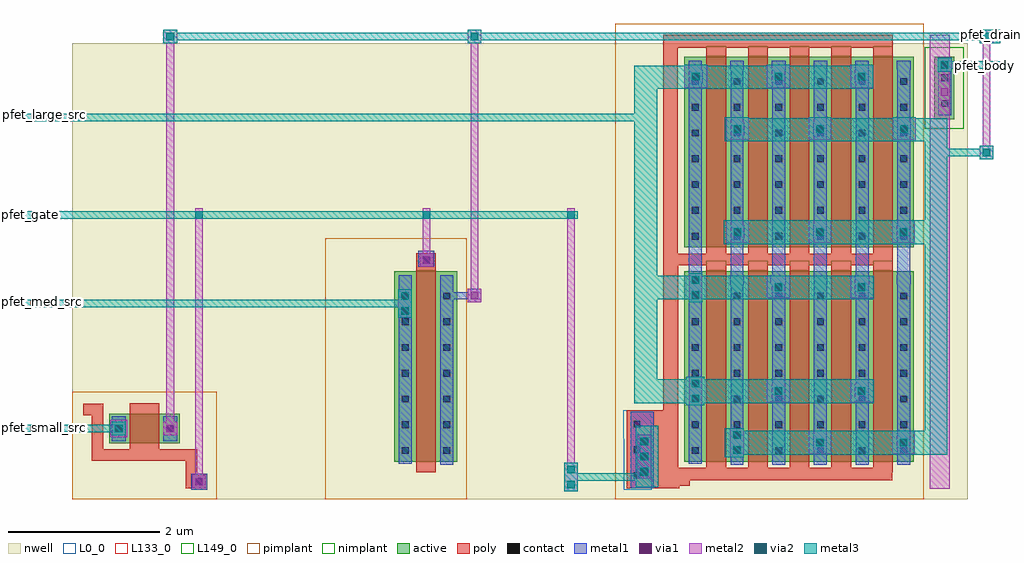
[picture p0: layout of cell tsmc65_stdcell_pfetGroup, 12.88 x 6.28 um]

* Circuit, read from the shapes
.subckt tsmc65_stdcell_pfetGroup pfet_body pfet_drain pfet_gate pfet_large_src pfet_med_src pfet_small_src
M1 pfet_drain pfet_gate pfet_small_src pfet_body pfet w=0.39u l=0.39u
M2 pfet_drain pfet_gate pfet_med_src pfet_body pfet w=2.51u l=0.26u
M3 pfet_drain pfet_gate pfet_large_src pfet_body pfet w=2.51u l=0.26u m=10
.ends

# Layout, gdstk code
import gdstk
lib = gdstk.Library(unit=1e-6, precision=1e-09)
def R(c, l, rs):  # rectangles x0, y0, x1, y1
    for r in rs: c.add(gdstk.rectangle(r[:2], r[2:], *l))
def A(c, l, x, y, w, h, nx, ny, dx, dy):  # array of equal rectangles
    R(c, l, [(x+i*dx, y+j*dy, x+i*dx+w, y+j*dy+h) for i in range(nx) for j in range(ny)])
L0_0 = (0, 0)
nwell = (3, 0)
active = (6, 0)
poly = (17, 0)
pimplant = (25, 0)
nimplant = (26, 0)
contact = (30, 0)
metal1 = (31, 0)
metal2 = (32, 0)
metal3 = (33, 0)
via1 = (51, 0)
via2 = (52, 0)
L133_0 = (133, 0)
L149_0 = (149, 0)

m1_po_cdns_675966892443 = lib.new_cell('M1_PO_CDNS_675966892443')
R(m1_po_cdns_675966892443, poly, [(-0.085,-0.085,0.085,0.085)])
R(m1_po_cdns_675966892443, contact, [(-0.045,-0.045,0.045,0.045)])
R(m1_po_cdns_675966892443, metal1, [(-0.085,-0.085,0.085,0.085)])

sky130_hilas_pfetdevice0 = lib.new_cell('sky130_hilas_pFETdevice01')
R(sky130_hilas_pfetdevice0, nwell, [(-0.94,-0.93,0.97,0.49)])
R(sky130_hilas_pfetdevice0, active, [(-0.45,-0.19,0.48,0.2)])
R(sky130_hilas_pfetdevice0, poly, [(0.56,-0.78,0.82,-0.63), (0.56,-0.63,0.71,-0.42), (-0.68,-0.42,0.71,-0.27), (-0.68,-0.27,-0.53,0.18), (-0.18,-0.27,0.21,0.34), (-0.79,0.18,-0.53,0.33)])
R(sky130_hilas_pfetdevice0, pimplant, [(-0.94,-0.93,0.97,0.49)])
R(sky130_hilas_pfetdevice0, contact, [(-0.37,-0.04,-0.28,0.05), (0.31,-0.04,0.4,0.05)])
R(sky130_hilas_pfetdevice0, metal1, [(0.65,-0.78,0.82,-0.61), (-0.415,-0.16,-0.235,0.17), (0.265,-0.16,0.445,0.17), (-0.41,0.06,-0.24,0.17), (0.27,0.085,0.44,0.17)])
sky130_hilas_pfetdevice0.add(gdstk.Reference(m1_po_cdns_675966892443, (0.735,-0.695)))
sky130_hilas_pfetdevice0.add(gdstk.Label('GATE', (0.7,-0.625), layer=31, texttype=0))
sky130_hilas_pfetdevice0.add(gdstk.Label('DRAIN', (0.425,0.185), layer=31, texttype=0))
sky130_hilas_pfetdevice0.add(gdstk.Label('SOURCE', (-0.4,0.2), layer=31, texttype=0))

sky130_hilas_pfetmed = lib.new_cell('sky130_hilas_pFETmed')
R(sky130_hilas_pfetmed, nwell, [(1.47,-0.22,2.66,2.65)])
R(sky130_hilas_pfetmed, active, [(1.65,-0.04,2.48,2.47)])
R(sky130_hilas_pfetmed, poly, [(1.94,-0.18,2.2,2.61)])
R(sky130_hilas_pfetmed, pimplant, [(0.74,-0.54,2.61,2.91)])
A(sky130_hilas_pfetmed, contact, 1.75, 0.06, 0.09, 0.09, 1, 7, 0, 0.34)
A(sky130_hilas_pfetmed, contact, 2.3, 0.06, 0.09, 0.09, 1, 7, 0, 0.34)
R(sky130_hilas_pfetmed, metal1, [(2.26,-0.08,2.43,2.42), (1.71,-0.07,1.88,2.42), (1.71,2.245,1.88,2.42), (2.26,2.3,2.43,2.42)])
R(sky130_hilas_pfetmed, L149_0, [(1.94,2.48,2.2,2.61)])
sky130_hilas_pfetmed.add(gdstk.Label('DRAIN', (2.475,2.455), layer=31, texttype=0))
sky130_hilas_pfetmed.add(gdstk.Label('SOURCE', (1.675,2.38), layer=31, texttype=0))
sky130_hilas_pfetmed.add(gdstk.Label('GATE', (2.085,2.665), layer=127, texttype=0))

m2_m1_cdns_675966892445 = lib.new_cell('M2_M1_CDNS_675966892445')
R(m2_m1_cdns_675966892445, metal1, [(-0.09,-0.09,0.09,0.09)])
R(m2_m1_cdns_675966892445, metal2, [(-0.115,-0.115,0.115,0.115)])
R(m2_m1_cdns_675966892445, via1, [(-0.05,-0.05,0.05,0.05)])

m3_m2_cdns_675966892444 = lib.new_cell('M3_M2_CDNS_675966892444')
R(m3_m2_cdns_675966892444, metal2, [(-0.115,-0.115,0.115,0.115)])
R(m3_m2_cdns_675966892444, metal3, [(-0.09,-0.09,0.09,0.09)])
R(m3_m2_cdns_675966892444, via2, [(-0.05,-0.05,0.05,0.05)])

sky130_hilas_li2m2 = lib.new_cell('sky130_hilas_li2m2')
R(sky130_hilas_li2m2, metal2, [(-0.11,-0.125,0.19,0.175)])
R(sky130_hilas_li2m2, metal3, [(-0.11,-0.125,0.19,0.175)])
sky130_hilas_li2m2.add(gdstk.Reference(m2_m1_cdns_675966892445, (0.04,0.02)))
sky130_hilas_li2m2.add(gdstk.Reference(m3_m2_cdns_675966892444, (0.04,0.02)))

sky130_hilas_pfetmed_0 = lib.new_cell('sky130_hilas_pFETmed_0')
R(sky130_hilas_pfetmed_0, nwell, [(1.47,-0.22,2.66,2.65)])
R(sky130_hilas_pfetmed_0, active, [(1.65,-0.04,2.48,2.47)])
R(sky130_hilas_pfetmed_0, poly, [(1.94,-0.18,2.2,2.61)])
R(sky130_hilas_pfetmed_0, pimplant, [(0.74,-0.54,2.61,2.91)])
A(sky130_hilas_pfetmed_0, contact, 1.75, 0.06, 0.09, 0.09, 1, 7, 0, 0.34)
A(sky130_hilas_pfetmed_0, contact, 2.3, 0.06, 0.09, 0.09, 1, 7, 0, 0.34)
R(sky130_hilas_pfetmed_0, metal1, [(2.26,-0.08,2.43,2.42), (1.71,-0.07,1.88,2.42), (1.71,2.245,1.88,2.42), (2.255,2.3,2.435,2.42)])
R(sky130_hilas_pfetmed_0, L149_0, [(1.94,2.48,2.2,2.61)])
sky130_hilas_pfetmed_0.add(gdstk.Label('DRAIN', (2.475,2.455), layer=31, texttype=0))
sky130_hilas_pfetmed_0.add(gdstk.Label('SOURCE', (1.675,2.38), layer=31, texttype=0))
sky130_hilas_pfetmed_0.add(gdstk.Label('GATE', (2.085,2.665), layer=127, texttype=0))

sky130_hilas_pfetlargepa = lib.new_cell('sky130_hilas_pFETLargePart1')
sky130_hilas_pfetlargepa.add(gdstk.Reference(sky130_hilas_pfetmed_0, (0.67,0.13)))
sky130_hilas_pfetlargepa.add(gdstk.Reference(sky130_hilas_pfetmed_0, (-1.53,0.13)))
sky130_hilas_pfetlargepa.add(gdstk.Reference(sky130_hilas_pfetmed_0, (-0.98,0.13)))
sky130_hilas_pfetlargepa.add(gdstk.Reference(sky130_hilas_pfetmed_0, (-0.43,0.13)))
sky130_hilas_pfetlargepa.add(gdstk.Reference(sky130_hilas_pfetmed_0, (0.12,0.13)))

m2_m1_cdns_675966892448 = lib.new_cell('M2_M1_CDNS_675966892448')
R(m2_m1_cdns_675966892448, metal1, [(-0.09,-0.29,0.09,0.29)])
R(m2_m1_cdns_675966892448, metal2, [(-0.09,-0.29,0.09,0.29)])
A(m2_m1_cdns_675966892448, via1, -0.05, -0.25, 0.1, 0.1, 1, 3, 0, 0.2)

m3_m2_cdns_675966892446 = lib.new_cell('M3_M2_CDNS_675966892446')
R(m3_m2_cdns_675966892446, metal2, [(-0.09,-0.19,0.09,0.19)])
R(m3_m2_cdns_675966892446, metal3, [(-0.09,-0.19,0.09,0.19)])
R(m3_m2_cdns_675966892446, via2, [(-0.05,-0.15,0.05,-0.05), (-0.05,0.05,0.05,0.15)])

m3_m2_cdns_675966892449 = lib.new_cell('M3_M2_CDNS_675966892449')
R(m3_m2_cdns_675966892449, metal2, [(-0.09,-0.29,0.09,0.29)])
R(m3_m2_cdns_675966892449, metal3, [(-0.09,-0.29,0.09,0.29)])
A(m3_m2_cdns_675966892449, via2, -0.05, -0.25, 0.1, 0.1, 1, 3, 0, 0.2)

m2_m1_cdns_675966892447 = lib.new_cell('M2_M1_CDNS_675966892447')
R(m2_m1_cdns_675966892447, metal1, [(-0.09,-0.19,0.09,0.19)])
R(m2_m1_cdns_675966892447, metal2, [(-0.09,-0.19,0.09,0.19)])
R(m2_m1_cdns_675966892447, via1, [(-0.05,-0.15,0.05,-0.05), (-0.05,0.05,0.05,0.15)])

sky130_hilas_pfetlarge = lib.new_cell('sky130_hilas_pFETLarge')
R(sky130_hilas_pfetlarge, L0_0, [(0.74,4.18,1.11,4.86), (0.73,4.86,1.11,4.89), (0.73,4.89,1.1,5.23)])
R(sky130_hilas_pfetlarge, nwell, [(4.66,4.37,5.28,10.07), (1.45,7.25,2.21,7.28), (4.28,7.25,4.29,7.29), (1.45,7.28,2.13,7.29)])
R(sky130_hilas_pfetlarge, active, [(4.84,9.07,5.1,9.89)])
R(sky130_hilas_pfetlarge, poly, [(0.78,4.2,1.47,4.23), (0.78,4.23,1.61,4.3), (0.78,4.3,4.28,4.47), (0.78,4.47,1.46,5.23), (1.26,5.23,1.46,7.14), (1.26,7.14,4.29,7.29), (1.26,7.29,1.45,10.01), (1.26,10.01,4.29,10.18)])
R(sky130_hilas_pfetlarge, pimplant, [(1.415,7.185,4.695,7.255)])
R(sky130_hilas_pfetlarge, nimplant, [(4.715,8.945,5.225,10.015)])
A(sky130_hilas_pfetlarge, contact, 0.87, 4.32, 0.09, 0.09, 1, 3, 0, 0.34)
R(sky130_hilas_pfetlarge, contact, [(4.93,9.23,5.02,9.32), (4.93,9.57,5.02,9.66)])
A(sky130_hilas_pfetlarge, metal1, 1.6, 7, 0.16, 0.01, 6, 1, 0.55, 0)
R(sky130_hilas_pfetlarge, metal1, [(0.835,4.2,1.135,4.88), (0.835,4.88,1.135,5.13), (0.835,5.13,1.135,5.21), (2.675,6.89,2.88,7.01), (3.785,6.89,3.98,7.01), (1.6,7.01,1.77,7.35), (2.15,7.01,2.32,7.34), (2.7,7.01,2.87,7.41), (3.25,7.01,3.42,7.34), (3.8,7.01,3.97,7.34), (4.35,7.01,4.52,7.36), (2.15,7.34,2.31,7.38), (3.25,7.34,3.41,7.38), (3.8,7.34,3.96,7.38), (1.6,7.35,1.76,7.38), (4.35,7.36,4.51,7.38), (4.89,9.12,5.06,9.88)])
R(sky130_hilas_pfetlarge, metal2, [(4.78,4.19,5.04,9.17), (4.78,9.17,5.04,9.98), (4.78,9.98,5.04,10.18), (4.78,10.02,5.04,10.18)])
R(sky130_hilas_pfetlarge, metal3, [(0.895,4.21,1.195,4.415), (0.895,4.21,1.195,5.02), (2.07,4.61,2.325,4.99), (2.07,4.64,5.01,4.955), (4.755,4.64,5.01,4.94), (4.71,4.915,5.01,7.475), (1.565,5.29,1.8,5.67), (0.88,5.32,4.04,5.635), (0.88,5.55,1.18,6.745), (0.88,6.69,4.04,7.005), (0.88,6.895,1.18,9.5), (2.06,7.42,5.01,7.735), (4.71,7.645,5.01,8.785), (2.07,8.78,5.01,9.08), (2.07,9.08,2.09,9.095), (0.88,9.47,4.03,9.77), (0.88,9.525,1.105,9.77)])
R(sky130_hilas_pfetlarge, via1, [(4.925,9.375,5.025,9.475), (4.925,9.735,5.025,9.835)])
sky130_hilas_pfetlarge.add(gdstk.Reference(sky130_hilas_li2m2, (4.4,8.92)))
sky130_hilas_pfetlarge.add(gdstk.Reference(sky130_hilas_li2m2, (3.29,8.92)))
sky130_hilas_pfetlarge.add(gdstk.Reference(sky130_hilas_li2m2, (2.2,8.92)))
sky130_hilas_pfetlarge.add(gdstk.Reference(sky130_hilas_li2m2, (1.65,9.61)))
sky130_hilas_pfetlarge.add(gdstk.Reference(sky130_hilas_li2m2, (3.84,9.61)))
sky130_hilas_pfetlarge.add(gdstk.Reference(sky130_hilas_li2m2, (2.74,9.61)))
sky130_hilas_pfetlarge.add(gdstk.Reference(sky130_hilas_li2m2, (4.39,7.56)))
sky130_hilas_pfetlarge.add(gdstk.Reference(sky130_hilas_li2m2, (2.2,7.56)))
sky130_hilas_pfetlarge.add(gdstk.Reference(sky130_hilas_li2m2, (3.29,7.56)))
sky130_hilas_pfetlarge.add(gdstk.Reference(sky130_hilas_li2m2, (3.84,6.83)))
sky130_hilas_pfetlarge.add(gdstk.Reference(sky130_hilas_li2m2, (2.74,6.83)))
sky130_hilas_pfetlarge.add(gdstk.Reference(sky130_hilas_li2m2, (4.39,4.78)))
sky130_hilas_pfetlarge.add(gdstk.Reference(sky130_hilas_li2m2, (3.29,4.78)))
sky130_hilas_pfetlarge.add(gdstk.Reference(sky130_hilas_li2m2, (3.84,5.46)))
sky130_hilas_pfetlarge.add(gdstk.Reference(sky130_hilas_li2m2, (2.74,5.46)))
sky130_hilas_pfetlarge.add(gdstk.Reference(sky130_hilas_pfetlargepa, (1.42,4.46)))
sky130_hilas_pfetlarge.add(gdstk.Reference(sky130_hilas_pfetlargepa, (1.42,7.29)))
sky130_hilas_pfetlarge.add(gdstk.Reference(m2_m1_cdns_675966892448, (1.01,4.615)))
sky130_hilas_pfetlarge.add(gdstk.Reference(m3_m2_cdns_675966892446, (1.685,6.845)))
sky130_hilas_pfetlarge.add(gdstk.Reference(m3_m2_cdns_675966892446, (1.685,5.48)))
sky130_hilas_pfetlarge.add(gdstk.Reference(m3_m2_cdns_675966892446, (2.235,4.8)))
sky130_hilas_pfetlarge.add(gdstk.Reference(m3_m2_cdns_675966892449, (1.01,4.615)))
sky130_hilas_pfetlarge.add(gdstk.Reference(m2_m1_cdns_675966892447, (1.685,6.845)))
sky130_hilas_pfetlarge.add(gdstk.Reference(m2_m1_cdns_675966892447, (1.685,5.48)))
sky130_hilas_pfetlarge.add(gdstk.Reference(m2_m1_cdns_675966892447, (2.235,4.8)))
sky130_hilas_pfetlarge.add(gdstk.Label('BODY', (4.9,10.25), layer=32, texttype=0))
sky130_hilas_pfetlarge.add(gdstk.Label('DRAIN', (5.17,4.825), layer=33, texttype=0))
sky130_hilas_pfetlarge.add(gdstk.Label('GATE', (0.895,4.325), layer=33, texttype=0))
sky130_hilas_pfetlarge.add(gdstk.Label('SOURCE', (0.875,9.81), layer=33, texttype=0))

m2_m1_cdns_675966892440 = lib.new_cell('M2_M1_CDNS_675966892440')
R(m2_m1_cdns_675966892440, metal1, [(-0.09,-0.09,0.09,0.09)])
R(m2_m1_cdns_675966892440, metal2, [(-0.09,-0.09,0.09,0.09)])
R(m2_m1_cdns_675966892440, via1, [(-0.05,-0.05,0.05,0.05)])

m3_m2_cdns_675966892441 = lib.new_cell('M3_M2_CDNS_675966892441')
R(m3_m2_cdns_675966892441, metal2, [(-0.09,-0.09,0.09,0.09)])
R(m3_m2_cdns_675966892441, metal3, [(-0.09,-0.09,0.09,0.09)])
R(m3_m2_cdns_675966892441, via2, [(-0.05,-0.05,0.05,0.05)])

m3_m2_cdns_675966892442 = lib.new_cell('M3_M2_CDNS_675966892442')
R(m3_m2_cdns_675966892442, metal2, [(-0.05,-0.09,0.05,0.09)])
R(m3_m2_cdns_675966892442, metal3, [(-0.09,-0.05,0.09,0.05)])
R(m3_m2_cdns_675966892442, via2, [(-0.05,-0.05,0.05,0.05)])

tsmc65_stdcell_pfetgroup = lib.new_cell('tsmc65_stdcell_pfetGroup')
R(tsmc65_stdcell_pfetgroup, nwell, [(0.635,0,12.455,6.02)])
R(tsmc65_stdcell_pfetgroup, poly, [(5.175,3.15,5.435,3.25)])
R(tsmc65_stdcell_pfetgroup, metal1, [(2.205,0.13,2.415,0.34), (2.22,0.145,2.4,0.325), (5.205,3.07,5.415,3.28), (12.06,5.645,12.24,5.83)])
R(tsmc65_stdcell_pfetgroup, metal2, [(12.06,5.645,12.24,5.83)])
R(tsmc65_stdcell_pfetgroup, metal3, [(12.06,5.645,12.24,5.83), (12.79,6.02,12.88,6.06), (12.79,6.16,12.88,6.2)])
R(tsmc65_stdcell_pfetgroup, L133_0, [(0,0.885,0.095,0.985), (0,2.535,0.09,2.635), (0,3.705,0.1,3.805), (0,4.99,0.105,5.09), (12.655,5.685,12.75,5.785), (12.79,6.06,12.88,6.16)])
tsmc65_stdcell_pfetgroup.add(gdstk.FlexPath([(5.665,2.69),(5.945,2.69)], 0.09, ends="flush", simple_path=True, layer=31, datatype=0))  # metal1
tsmc65_stdcell_pfetgroup.add(gdstk.FlexPath([(5.31,3.16),(5.31,3.755)], 0.1, ends="flush", simple_path=True, layer=32, datatype=0))  # metal2
tsmc65_stdcell_pfetgroup.add(gdstk.FlexPath([(2.31,0.235),(2.31,3.755)], 0.1, ends="flush", simple_path=True, layer=32, datatype=0))  # metal2
tsmc65_stdcell_pfetgroup.add(gdstk.FlexPath([(7.22,3.755),(7.22,0.295)], 0.1, ends="flush", simple_path=True, layer=32, datatype=0))  # metal2
tsmc65_stdcell_pfetgroup.add(gdstk.FlexPath([(12.7,6.16),(12.7,4.58)], 0.1, ends="flush", simple_path=True, layer=32, datatype=0))  # metal2
tsmc65_stdcell_pfetgroup.add(gdstk.FlexPath([(5.945,2.69),(5.945,6.095)], 0.1, ends="flush", simple_path=True, layer=32, datatype=0))  # metal2
tsmc65_stdcell_pfetgroup.add(gdstk.FlexPath([(1.93,0.935),(1.93,6.1)], 0.1, ends="flush", simple_path=True, layer=32, datatype=0))  # metal2
tsmc65_stdcell_pfetgroup.add(gdstk.FlexPath([(8.085,5.04),(0,5.04)], 0.1, ends="flush", simple_path=True, layer=33, datatype=0))  # metal3
tsmc65_stdcell_pfetgroup.add(gdstk.FlexPath([(5.03,2.585),(0,2.585)], 0.1, ends="flush", simple_path=True, layer=33, datatype=0))  # metal3
tsmc65_stdcell_pfetgroup.add(gdstk.FlexPath([(1.25,0.935),(0,0.935)], 0.1, ends="flush", simple_path=True, layer=33, datatype=0))  # metal3
tsmc65_stdcell_pfetgroup.add(gdstk.FlexPath([(0,3.755),(7.22,3.755)], 0.1, ends="flush", simple_path=True, layer=33, datatype=0))  # metal3
tsmc65_stdcell_pfetgroup.add(gdstk.FlexPath([(8.075,0.295),(7.13,0.295)], 0.1, ends="flush", simple_path=True, layer=33, datatype=0))  # metal3
tsmc65_stdcell_pfetgroup.add(gdstk.FlexPath([(12.15,5.735),(12.88,5.735)], 0.1, ends="flush", simple_path=True, layer=33, datatype=0))  # metal3
tsmc65_stdcell_pfetgroup.add(gdstk.FlexPath([(12.185,4.58),(12.79,4.58)], 0.1, ends="flush", simple_path=True, layer=33, datatype=0))  # metal3
tsmc65_stdcell_pfetgroup.add(gdstk.FlexPath([(5.945,6.11),(12.88,6.11)], 0.1, ends="flush", simple_path=True, layer=33, datatype=0))  # metal3
tsmc65_stdcell_pfetgroup.add(gdstk.FlexPath([(1.93,6.11),(5.945,6.11)], 0.1, ends="flush", simple_path=True, layer=33, datatype=0))  # metal3
tsmc65_stdcell_pfetgroup.add(gdstk.Reference(sky130_hilas_pfetdevice0, (1.575,0.93)))
tsmc65_stdcell_pfetgroup.add(gdstk.Reference(sky130_hilas_pfetmed, (3.235,0.54)))
tsmc65_stdcell_pfetgroup.add(gdstk.Reference(sky130_hilas_pfetlarge, (7.175,-4.05)))
tsmc65_stdcell_pfetgroup.add(gdstk.Reference(m2_m1_cdns_675966892440, (5.31,3.16)))
tsmc65_stdcell_pfetgroup.add(gdstk.Reference(m2_m1_cdns_675966892440, (2.31,0.235)))
tsmc65_stdcell_pfetgroup.add(gdstk.Reference(m2_m1_cdns_675966892440, (5.945,2.69)))
tsmc65_stdcell_pfetgroup.add(gdstk.Reference(m2_m1_cdns_675966892440, (1.93,0.935)))
tsmc65_stdcell_pfetgroup.add(gdstk.Reference(m3_m2_cdns_675966892441, (12.15,5.735)))
tsmc65_stdcell_pfetgroup.add(gdstk.Reference(m3_m2_cdns_675966892441, (12.7,6.11)))
tsmc65_stdcell_pfetgroup.add(gdstk.Reference(m3_m2_cdns_675966892441, (12.7,4.58)))
tsmc65_stdcell_pfetgroup.add(gdstk.Reference(m3_m2_cdns_675966892441, (5.945,6.11)))
tsmc65_stdcell_pfetgroup.add(gdstk.Reference(m3_m2_cdns_675966892441, (1.93,6.11)))
tsmc65_stdcell_pfetgroup.add(gdstk.Reference(m3_m2_cdns_675966892442, (5.31,3.755)))
tsmc65_stdcell_pfetgroup.add(gdstk.Reference(m3_m2_cdns_675966892442, (2.31,3.755)))
tsmc65_stdcell_pfetgroup.add(gdstk.Reference(m3_m2_cdns_675966892442, (7.22,3.755)))
tsmc65_stdcell_pfetgroup.add(gdstk.Reference(m1_po_cdns_675966892443, (5.31,3.16)))
tsmc65_stdcell_pfetgroup.add(gdstk.Reference(m3_m2_cdns_675966892444, (1.25,0.935)))
tsmc65_stdcell_pfetgroup.add(gdstk.Reference(m2_m1_cdns_675966892445, (1.25,0.935)))
tsmc65_stdcell_pfetgroup.add(gdstk.Reference(m3_m2_cdns_675966892446, (7.22,0.295)))
tsmc65_stdcell_pfetgroup.add(gdstk.Reference(m3_m2_cdns_675966892446, (5.03,2.585)))
tsmc65_stdcell_pfetgroup.add(gdstk.Reference(m2_m1_cdns_675966892447, (5.03,2.585)))
tsmc65_stdcell_pfetgroup.add(gdstk.Label('pfet_large_src', (0.065,5.075), layer=133, texttype=0))
tsmc65_stdcell_pfetgroup.add(gdstk.Label('pfet_med_src', (0.055,2.61), layer=133, texttype=0))
tsmc65_stdcell_pfetgroup.add(gdstk.Label('pfet_small_src', (0.055,0.945), layer=133, texttype=0))
tsmc65_stdcell_pfetgroup.add(gdstk.Label('pfet_gate', (0.06,3.76), layer=133, texttype=0))
tsmc65_stdcell_pfetgroup.add(gdstk.Label('pfet_body', (12.675,5.73), layer=133, texttype=0))
tsmc65_stdcell_pfetgroup.add(gdstk.Label('pfet_drain', (12.815,6.135), layer=133, texttype=0))

lib.write_gds('tsmc65_stdcell_pfetGroup.gds')
